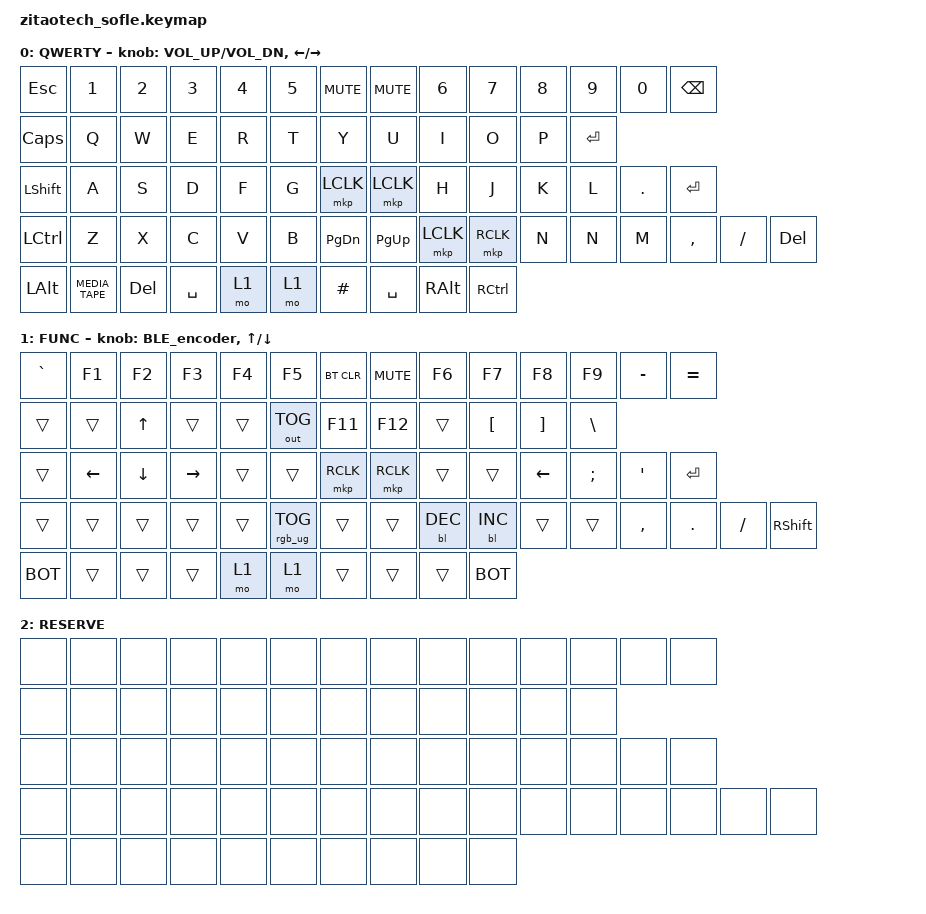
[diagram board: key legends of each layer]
/*
 * Copyright (c) 2025 ZitaoTech
 *
 * SPDX-License-Identifier: MIT
 */

#include <dt-bindings/zmk/mouse.h>
#include <behaviors.dtsi>
#include <dt-bindings/zmk/backlight.h>
#include <dt-bindings/zmk/bt.h>
#include <dt-bindings/zmk/keys.h>
#include <dt-bindings/zmk/outputs.h>
#include <dt-bindings/zmk/pointing.h>
#include <dt-bindings/zmk/rgb.h>

#define FUNC 1
#define RES 2
#define BOT bootloader

/ {
    behaviors {
        td0: tap_dance_0 {
            compatible = "zmk,behavior-tap-dance";
            #binding-cells = <0>;
            tapping-term-ms = <400>;
            bindings = <&mkp LCLK>, <&bt BT_CLR>;
        };
    };

    behaviors {
        hm: homerow_mods {
            compatible = "zmk,behavior-hold-tap";
            #binding-cells = <2>;
            tapping-term-ms = <500>;
            bindings = <&kp &kp>;
        };
    };

    behaviors {
        sp_sc: behavior_spacescroll {
            compatible = "zmk,behavior-hold-tap";
            #binding-cells = <2>;
            flavor = "tap-preferred";     /* 单击优先 */
            tapping-term-ms = <200>;       /* 长按阈值 */
            bindings = <&none &kp>;        /* hold=none, tap=space */
        };
    };

    behaviors {
        BLE_encoder: BLE_encoder {
            compatible = "zmk,behavior-sensor-rotate";
            #sensor-binding-cells = <0>;
            bindings = <&bt BT_NXT>, <&bt BT_PRV>;
        };
    };

    keymap {
        compatible = "zmk,keymap";

        default_layer {
            display-name = "QWERTY";
            bindings = <
&kp ESC           &kp N1            &kp N2   &kp N3     &kp N4  &kp N5  &kp C_MUTE  &kp C_MUTE  &kp N6     &kp N7     &kp N8  &kp N9     &kp N0   &kp BSPC
&kp CAPS          &kp Q             &kp W    &kp E      &kp R   &kp T   &kp Y       &kp U       &kp I      &kp O      &kp P   &kp ENTER
&kp LEFT_SHIFT    &kp A             &kp S    &kp D      &kp F   &kp G   &mkp LCLK   &mkp LCLK   &kp H      &kp J      &kp K   &kp L      &kp DOT  &kp ENTER
&kp LEFT_CONTROL  &kp Z             &kp X    &kp C      &kp V   &kp B   &kp PG_DN   &kp PG_UP   &mkp LCLK  &mkp RCLK  &kp N   &kp N      &kp M    &kp COMMA  &kp FSLH  &kp DEL
&kp LEFT_ALT      &kp C_MEDIA_TAPE  &kp DEL  &kp SPACE  &mo 1   &mo 1   &kp HASH    &kp SPACE   &kp RALT   &kp RCTRL
            >;

            sensor-bindings = <&inc_dec_kp C_VOL_UP C_VOL_DN &inc_dec_kp LEFT RIGHT>;
        };

        func_layer {
            display-name = "FUNC";
            bindings = <
&kp GRAVE  &kp F1    &kp F2    &kp F3     &kp F4  &kp F5           &bt BT_CLR  &kp C_MUTE  &kp F6      &kp F7            &kp F8             &kp F9         &kp MINUS         &kp EQUAL
&trans     &trans    &kp UP    &trans     &trans  &out OUT_TOG     &kp F11     &kp F12     &trans      &kp LEFT_BRACKET  &kp RIGHT_BRACKET  &kp BACKSLASH
&trans     &kp LEFT  &kp DOWN  &kp RIGHT  &trans  &trans           &mkp RCLK   &mkp RCLK   &trans      &trans            &kp LEFT           &kp SEMICOLON  &kp SINGLE_QUOTE  &kp ENTER
&trans     &trans    &trans    &trans     &trans  &rgb_ug RGB_TOG  &trans      &trans      &bl BL_DEC  &bl BL_INC        &trans             &trans         &kp COMMA         &kp DOT    &kp SLASH  &kp RIGHT_SHIFT
&BOT       &trans    &trans    &trans     &mo 1   &mo 1            &trans      &trans      &trans      &BOT
            >;

            sensor-bindings = <&BLE_encoder &inc_dec_kp UP DOWN>;
        };

        RES_layer {
            display-name = "RESERVE";
            bindings = <
&none  &none  &none  &none  &none  &none  &none  &none  &none  &none  &none  &none  &none  &none
&none  &none  &none  &none  &none  &none  &none  &none  &none  &none  &none  &none
&none  &none  &none  &none  &none  &none  &none  &none  &none  &none  &none  &none  &none  &none
&none  &none  &none  &none  &none  &none  &none  &none  &none  &none  &none  &none  &none  &none  &none  &none
&none  &none  &none  &none  &none  &none  &none  &none  &none  &none
            >;
        };
    };
};
